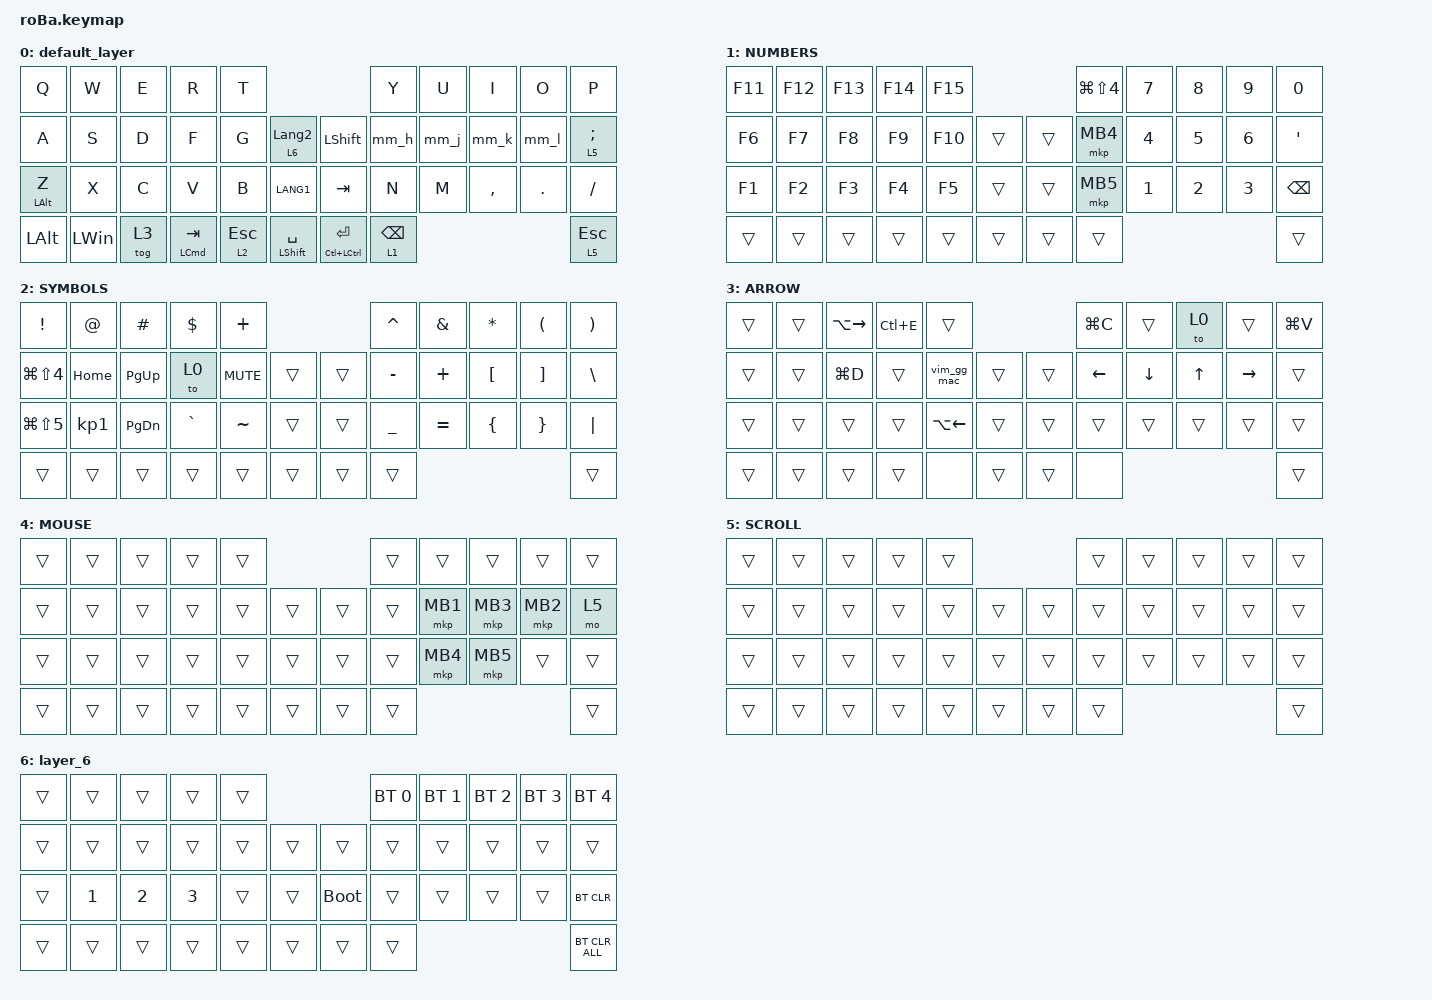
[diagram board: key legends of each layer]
#include <behaviors.dtsi>
#include <dt-bindings/zmk/bt.h>
#include <dt-bindings/zmk/input_transform.h>
#include <dt-bindings/zmk/keys.h>
#include <dt-bindings/zmk/pointing.h>
#include <input/processors.dtsi>

&mt {
    flavor = "balanced";
    quick-tap-ms = <0>;
};

&trackball {
    // arrows {
    //     layers = <3>;
    //     bindings =
    //         <&kp RIGHT_ARROW>,
    //         <&kp LEFT_ARROW>,
    //         <&kp UP_ARROW>,
    //         <&kp DOWN_ARROW>;
    //     tick = <10>;
    //     wait-ms = <5>;
    //     tap-ms = <5>;
    // };
};

&trackball_listener {
    input-processors = <&zip_temp_layer 4 10000>;

    scroller {
        layers = <5>;
        process-next;
        input-processors =
            <&zip_xy_to_scroll_mapper>,
            <&zip_scroll_transform (INPUT_TRANSFORM_Y_INVERT)>,
            <&zip_scroll_scaler 1 16>;
    };
};

&zip_temp_layer {
    require-prior-idle-ms = <200>;
    // 16:Shift 18-20:MB1/MB3/MB2 21:mo5 30-31:MB4/MB5
    excluded-positions = <16 18 19 20 21 30 31>;
};

/ {
    combos {
        compatible = "zmk,combos";

        tab {
            bindings = <&kp TAB>;
            key-positions = <11 12>;
        };

        shift_tab {
            bindings = <&kp LS(TAB)>;
            key-positions = <12 13>;
        };

        muhennkann {
            bindings = <&to_layer_0 INT_MUHENKAN>;
            key-positions = <11 10>;
        };

        double_quotation {
            bindings = <&kp DOUBLE_QUOTES>;
            key-positions = <20 21>;
        };

        eq {
            bindings = <&kp EQUAL>;
            key-positions = <24 25>;
        };
    };

    macros {
        to_layer_0: to_layer_0 {
            compatible = "zmk,behavior-macro-one-param";
            #binding-cells = <1>;
            bindings = <&to 0 &macro_param_1to1 &kp MACRO_PLACEHOLDER>;
            label = "TO_LAYER_0";
        };
    };

    behaviors {
        lt_to_layer_0: lt_to_layer_0 {
            compatible = "zmk,behavior-hold-tap";
            label = "LAYER_TAP_TO_0";
            bindings = <&mo>, <&to_layer_0>;

            #binding-cells = <2>;
            tapping-term-ms = <200>;
        };

        vim_gg_mac: vim_gg_mac {
            compatible = "zmk,behavior-tap-dance";
            label = "VIM_GG_MAC";
            #binding-cells = <0>;
            bindings = <&vim_caps LG(UP_ARROW) G>, <&kp LG(LC(DOWN_ARROW))>;

            tapping-term-ms = <200>;
        };

        vim_caps: vim_caps {
            compatible = "zmk,behavior-hold-tap";
            label = "VIM_CAPS";
            bindings = <&kp>, <&kp>;

            #binding-cells = <2>;
            tapping-term-ms = <200>;
        };

        mm_h: mm_h {
            compatible = "zmk,behavior-mod-morph";
            label = "MM_H";
            bindings = <&kp H>, <&kp LEFT_ARROW>;

            #binding-cells = <0>;
            mods = <(MOD_LCTL)>;
        };

        mm_j: mm_j {
            compatible = "zmk,behavior-mod-morph";
            label = "MM_J";
            bindings = <&kp J>, <&kp DOWN_ARROW>;

            #binding-cells = <0>;
            mods = <(MOD_LCTL)>;
        };

        mm_k: mm_k {
            compatible = "zmk,behavior-mod-morph";
            label = "MM_K";
            bindings = <&kp K>, <&kp UP_ARROW>;

            #binding-cells = <0>;
            mods = <(MOD_LCTL)>;
        };

        mm_l: mm_l {
            compatible = "zmk,behavior-mod-morph";
            label = "MM_L";
            bindings = <&kp L>, <&kp RIGHT_ARROW>;

            #binding-cells = <0>;
            mods = <(MOD_LCTL)>;
        };

        ht_letters: ht_letters {
            compatible = "zmk,behavior-hold-tap";
            label = "HT_LETTERS";
            bindings = <&kp>, <&kp>;

            #binding-cells = <2>;
            flavor = "tap-preferred";
            tapping-term-ms = <200>;
            require-prior-idle-ms = <125>;
        };

        ht_thumb: ht_thumb {
            compatible = "zmk,behavior-hold-tap";
            label = "HT_THUMB";
            bindings = <&kp>, <&kp>;

            #binding-cells = <2>;
            tapping-term-ms = <120>;
        };
    };

    keymap {
        compatible = "zmk,keymap";

        default_layer {
            bindings = <
&kp Q                   &kp W         &kp E   &kp R                       &kp T                                                                                 &kp Y                       &kp U  &kp I      &kp O    &kp P
&kp A                   &kp S         &kp D   &kp F                       &kp G                    &lt_to_layer_0 6 LANGUAGE_2      &kp LEFT_SHIFT              &mm_h                       &mm_j  &mm_k      &mm_l    &lt_to_layer_0 5 SEMICOLON
&ht_letters LEFT_ALT Z  &kp X         &kp C   &kp V                       &kp B                    &kp LANG1                        &kp TAB                     &kp N                       &kp M  &kp COMMA  &kp DOT  &kp SLASH
&kp LEFT_ALT            &kp LEFT_WIN  &tog 3  &ht_thumb LEFT_COMMAND TAB  &lt_to_layer_0 2 ESCAPE  &mt LEFT_SHIFT SPACE             &mt LC(LEFT_CONTROL) ENTER  &lt_to_layer_0 1 BACKSPACE                             &lt_to_layer_0 5 ESCAPE
            >;
        };

        NUMBERS {
            bindings = <
&kp F11  &kp F12  &kp F13  &kp F14  &kp F15                      &kp LG(LS(NUMBER_4))  &kp NUMBER_7  &kp NUMBER_8  &kp NUMBER_9  &kp NUMBER_0
&kp F6   &kp F7   &kp F8   &kp F9   &kp F10  &trans      &trans  &mkp MB4              &kp NUMBER_4  &kp NUMBER_5  &kp NUMBER_6  &kp SINGLE_QUOTE
&kp F1   &kp F2   &kp F3   &kp F4   &kp F5   &trans      &trans  &mkp MB5              &kp NUMBER_1  &kp NUMBER_2  &kp NUMBER_3  &kp BACKSPACE
&trans   &trans   &trans   &trans   &trans   &trans      &trans  &trans                                                          &trans
            >;
        };

        SYMBOLS {
            bindings = <
&kp EXCLAMATION       &kp AT_SIGN      &kp HASH       &kp DOLLAR  &kp PLUS                        &kp CARET       &kp AMPERSAND  &kp ASTERISK      &kp LEFT_PARENTHESIS  &kp RIGHT_PARENTHESIS
&kp LG(LS(NUMBER_4))  &kp HOME         &kp PAGE_UP    &to 0       &kp C_MUTE  &trans      &trans  &kp MINUS       &kp PLUS       &kp LEFT_BRACKET  &kp RIGHT_BRACKET     &kp BACKSLASH
&kp LG(LS(NUMBER_5))  &kp KP_NUMBER_1  &kp PAGE_DOWN  &kp GRAVE   &kp TILDE   &trans      &trans  &kp UNDERSCORE  &kp EQUAL      &kp LEFT_BRACE    &kp RIGHT_BRACE       &kp PIPE
&trans                &trans           &trans         &trans      &trans      &trans      &trans  &trans                                                                 &trans
            >;
        };

        ARROW {
            bindings = <
&trans  &trans  &kp LA(RIGHT_ARROW)  &kp LC(E)  &trans                                  &kp LG(C)  &trans          &to 0         &trans           &kp LG(V)
&trans  &trans  &kp LG(D)            &trans     &vim_gg_mac         &trans      &trans  &kp LEFT   &kp DOWN_ARROW  &kp UP_ARROW  &kp RIGHT_ARROW  &trans
&trans  &trans  &trans               &trans     &kp LA(LEFT_ARROW)  &trans      &trans  &trans     &trans          &trans        &trans           &trans
&trans  &trans  &trans               &trans     &none               &trans      &trans  &none                                                     &trans
            >;
        };

        MOUSE {
            bindings = <
&trans  &trans  &trans  &trans  &trans                      &trans  &trans    &trans    &trans    &trans
&trans  &trans  &trans  &trans  &trans  &trans      &trans  &trans  &mkp MB1  &mkp MB3  &mkp MB2  &mo 5
&trans  &trans  &trans  &trans  &trans  &trans      &trans  &trans  &mkp MB4  &mkp MB5  &trans    &trans
&trans  &trans  &trans  &trans  &trans  &trans      &trans  &trans                                &trans
            >;
        };

        SCROLL {
            bindings = <
&trans  &trans  &trans  &trans  &trans                      &trans  &trans  &trans  &trans  &trans
&trans  &trans  &trans  &trans  &trans  &trans      &trans  &trans  &trans  &trans  &trans  &trans
&trans  &trans  &trans  &trans  &trans  &trans      &trans  &trans  &trans  &trans  &trans  &trans
&trans  &trans  &trans  &trans  &trans  &trans      &trans  &trans                          &trans
            >;
        };

        layer_6 {
            bindings = <
&trans  &trans        &trans        &trans        &trans                           &bt BT_SEL 0  &bt BT_SEL 1  &bt BT_SEL 2  &bt BT_SEL 3  &bt BT_SEL 4
&trans  &trans        &trans        &trans        &trans  &trans      &trans       &trans        &trans        &trans        &trans        &trans
&trans  &kp NUMBER_1  &kp NUMBER_2  &kp NUMBER_3  &trans  &trans      &bootloader  &trans        &trans        &trans        &trans        &bt BT_CLR
&trans  &trans        &trans        &trans        &trans  &trans      &trans       &trans                                                  &bt BT_CLR_ALL
            >;
        };
    };
};
